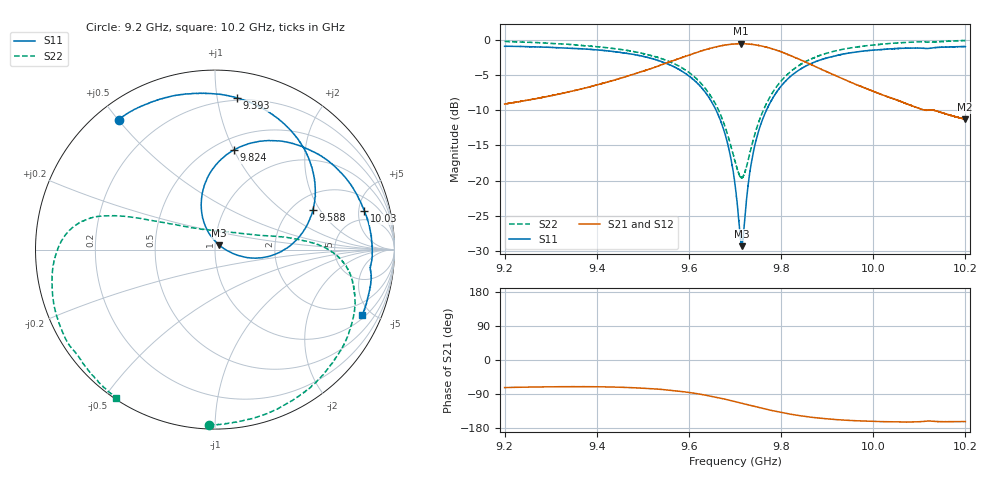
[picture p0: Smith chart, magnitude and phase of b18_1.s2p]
!Agilent Technologies,N5242A,MY51221714,A.09.90.19
!Agilent N5242A: A.09.90.19
!Date: Saturday, March 16, 2024 09:44:19
!Correction: S11(Full 2 Port(1,2))
!S21(Full 2 Port(1,2))
!S12(Full 2 Port(1,2))
!S22(Full 2 Port(1,2))
!S2P File: Measurements: S11, S21, S12, S22:
# Hz S  dB  R 50
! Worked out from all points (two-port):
!   16001 points, 9.2 GHz to 10.2 GHz, reference 50 ohm
!   highest |S21| = -0.52 dB at 9.712 GHz (marker M1); lowest = -11.3 dB at 10.2 GHz (marker M2)
!   |S21| within 3 dB of the highest: 9.540418 GHz to 9.540621 GHz (203.8 kHz wide, 0.00214 % of centre); 9.541 GHz to 9.866 GHz (325.1 MHz wide, 3.35 % of centre)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
!   lowest |S11| = -29.3 dB at 9.714 GHz (marker M3), VSWR 1.07, Z = 52.4 + j2.55 ohm
!   |S11| at or under -10 dB: 9.659 GHz to 9.768 GHz (109.2 MHz wide, 1.12 % of centre)
!   |S22| runs from -19.6 to -0.1 dB; largest |S21 - S12| = 0.013
!   S11 on the Smith chart (normalised r, x): 9.2 GHz: 0.06, +0.50; 9.393 GHz: 0.18, +1.14; 9.588 GHz: 2.54, +1.73; 9.824 GHz: 0.61, +1.00; 10.03 GHz: 3.56, +5.81; 10.2 GHz: 1.17, -4.41
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9.2e9  -0.90 126.5  -9.11 -72.8  -9.09 -73.4  -0.18 -92.0
9.27775e9  -0.99 109.2  -8.22 -71.1  -8.20 -71.7  -0.39 -70.5
9.366688e9  -1.25 88.4  -6.96 -70.5  -6.94 -71.0  -0.77 -46.7
9.392562e9  -1.37 81.9  -6.53 -70.5  -6.51 -71.1  -0.91 -40.0
9.533375e9  -2.91 41.7  -3.69 -76.9  -3.68 -77.5  -2.49 -8.6
9.5885e9  -4.61 22.2  -2.42 -83.9  -2.41 -84.4  -4.10 0.5
9.661625e9  -10.37 -7.1  -0.93 -99.0  -0.92 -99.5  -9.64 13.2
9.684062e9  -14.77 -14.1  -0.66 -105.1  -0.65 -105.6  -13.47 23.7
9.7e9  -20.48 -10.9  -0.55 -109.7  -0.53 -110.4  -17.27 44.0
9.712375e9  -28.45 29.4  -0.52 -113.5  -0.50 -114.1  -19.49 76.7
9.71425e9  -29.33 45.4  -0.53 -114.1  -0.51 -114.7  -19.54 83.6
9.734625e9  -17.80 112.2  -0.60 -120.2  -0.59 -120.9  -15.50 134.3
9.752125e9  -12.75 109.0  -0.79 -125.5  -0.77 -126.2  -11.57 148.1
9.78375e9  -8.07 96.6  -1.31 -134.3  -1.31 -135.0  -7.24 156.8
9.82425e9  -4.97 79.3  -2.33 -143.8  -2.31 -144.3  -4.31 162.0
9.866688e9  -3.30 62.6  -3.55 -151.2  -3.54 -151.7  -2.67 166.8
9.948938e9  -1.84 35.8  -5.94 -159.4  -5.95 -160.1  -1.15 179.8
1.002762e10  -1.31 14.4  -8.00 -162.8  -7.98 -163.4  -0.54 -164.3
1.003338e10  -1.29 12.9  -8.14 -162.9  -8.12 -163.5  -0.51 -163.0
1.010688e10  -1.16 -4.6  -9.89 -162.4  -9.89 -162.9  -0.26 -146.7
1.019956e10  -0.94 -23.9  -11.29 -162.4  -11.28 -163.1  -0.08 -123.7
1.02e10  -0.94 -24.0  -11.29 -162.4  -11.28 -163.1  -0.07 -123.6
